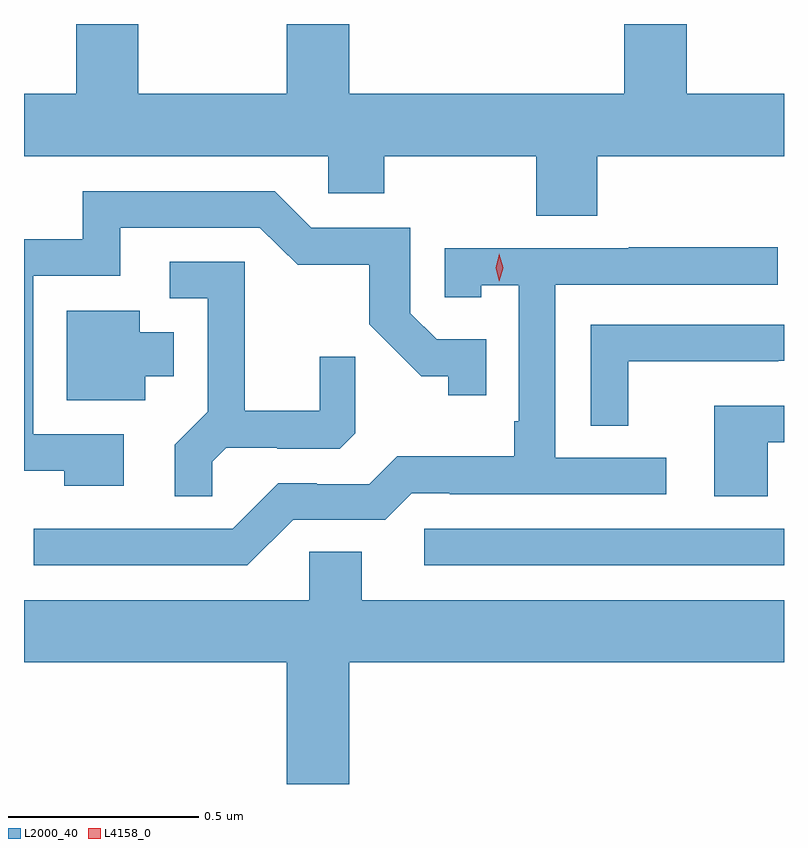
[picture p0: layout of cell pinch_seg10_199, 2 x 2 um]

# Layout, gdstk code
import gdstk
lib = gdstk.Library(unit=1e-6, precision=1e-09)
def R(c, l, rs):  # rectangles x0, y0, x1, y1
    for r in rs: c.add(gdstk.rectangle(r[:2], r[2:], *l))
def P(c, l, *ps):  # polygons
    for p in ps: c.add(gdstk.Polygon(p, *l))
L2000_40 = (2000, 40)
L4158_0 = (4158, 0)

pinch_seg10_199 = lib.new_cell('pinch_seg10_199')
R(pinch_seg10_199, L2000_40, [(752.781,1265.94,753.728,1266.036)])
P(pinch_seg10_199, L2000_40, [(753.236,1267.016),(753.728,1267.016),(753.728,1267.18),(753.472,1267.18),(753.472,1267.364),(753.308,1267.364),(753.308,1267.18),(752.584,1267.18),(752.584,1267.364),(752.42,1267.364),(752.42,1267.18),(752.029,1267.18),(752.029,1267.364),(751.865,1267.364),(751.865,1267.18),(751.728,1267.18),(751.728,1267.016),(752.529,1267.016),(752.529,1266.918),(752.676,1266.918),(752.676,1267.016),(753.076,1267.016),(753.076,1266.859),(753.236,1266.859)],
  [(751.99,1266.285),(751.752,1266.285),(751.752,1266.702),(751.981,1266.702),(751.981,1266.828),(752.349,1266.828),(752.448,1266.73),(752.637,1266.73),(752.637,1266.574),(752.774,1266.437),(752.844,1266.437),(752.844,1266.387),(752.945,1266.387),(752.945,1266.534),(752.814,1266.534),(752.745,1266.603),(752.745,1266.828),(752.484,1266.828),(752.388,1266.924),(751.883,1266.924),(751.883,1266.798),(751.728,1266.798),(751.728,1266.189),(751.834,1266.189),(751.834,1266.149),(751.99,1266.149)],
  [(752.436,1266.06),(752.679,1266.06),(752.748,1266.129),(752.848,1266.129),(752.848,1266.126),(753.418,1266.126),(753.418,1266.222),(753.126,1266.222),(753.126,1266.678),(753.712,1266.678),(753.712,1266.777),(753.319,1266.777),(753.319,1266.774),(752.835,1266.774),(752.835,1266.645),(752.931,1266.645),(752.931,1266.677),(753.03,1266.677),(753.03,1266.319),(753.018,1266.319),(753.018,1266.226),(752.71,1266.226),(752.637,1266.153),(752.498,1266.153),(752.498,1266.156),(752.397,1266.156),(752.277,1266.036),(751.754,1266.036),(751.754,1265.94),(752.316,1265.94)],
  [(752.223,1266.212),(752.26,1266.249),(752.394,1266.249),(752.394,1266.246),(752.559,1266.246),(752.6,1266.287),(752.6,1266.489),(752.506,1266.489),(752.506,1266.346),(752.309,1266.346),(752.309,1266.738),(752.112,1266.738),(752.112,1266.642),(752.211,1266.642),(752.211,1266.343),(752.125,1266.257),(752.125,1266.121),(752.223,1266.121)],
  [(752.047,1266.437),(752.122,1266.437),(752.122,1266.553),(752.032,1266.553),(752.032,1266.61),(751.841,1266.61),(751.841,1266.374),(752.047,1266.374)],
  [(753.318,1266.477),(753.713,1266.477),(753.713,1266.478),(753.728,1266.478),(753.728,1266.573),(753.219,1266.573),(753.219,1266.307),(753.318,1266.307)],
  [(753.685,1266.264),(753.728,1266.264),(753.728,1266.36),(753.545,1266.36),(753.545,1266.121),(753.685,1266.121)],
  [(752.584,1265.684),(753.728,1265.684),(753.728,1265.848),(752.617,1265.848),(752.617,1265.975),(752.478,1265.975),(752.478,1265.848),(751.728,1265.848),(751.728,1265.684),(752.42,1265.684),(752.42,1265.364),(752.584,1265.364)])
P(pinch_seg10_199, L4158_0, [(752.978,1266.687),(752.969,1266.723),(752.978,1266.758),(752.979,1266.759),(752.979,1266.758),(752.989,1266.723),(752.979,1266.687),(752.979,1266.687)])

lib.write_gds('pinch_seg10_199.gds')
